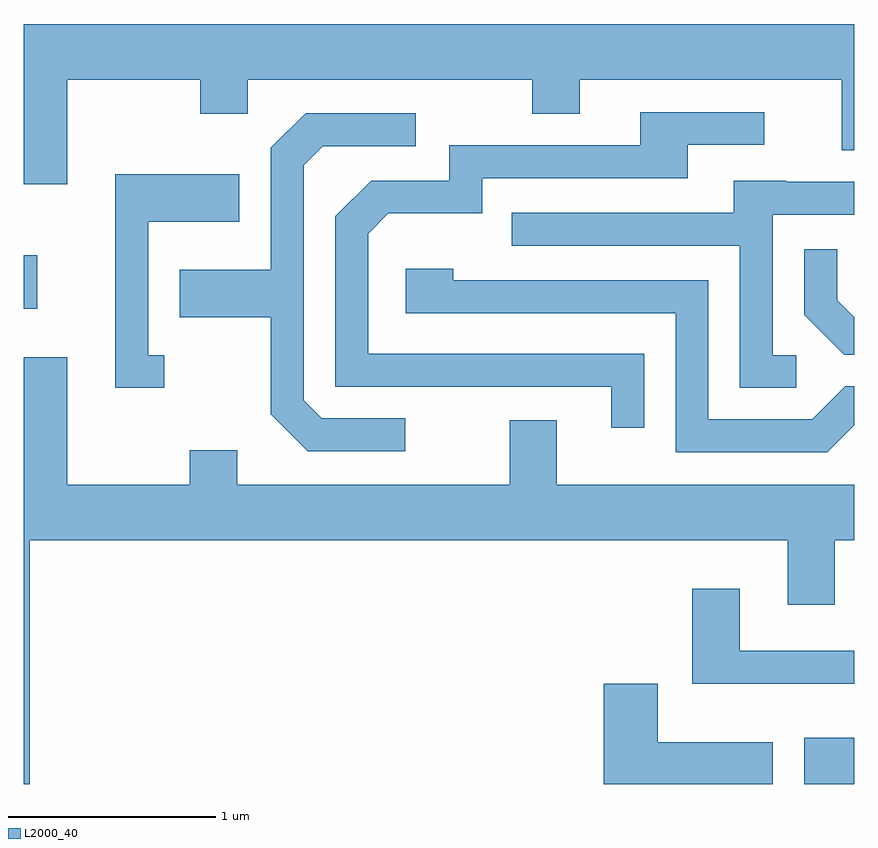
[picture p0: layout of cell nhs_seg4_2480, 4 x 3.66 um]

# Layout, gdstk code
import gdstk
lib = gdstk.Library(unit=1e-6, precision=1e-09)
def R(c, l, rs):  # rectangles x0, y0, x1, y1
    for r in rs: c.add(gdstk.rectangle(r[:2], r[2:], *l))
def P(c, l, *ps):  # polygons
    for p in ps: c.add(gdstk.Polygon(p, *l))
L2000_40 = (2000, 40)

nhs_seg4_2480 = lib.new_cell('nhs_seg4_2480')
R(nhs_seg4_2480, L2000_40, [(261.371,1317.982,261.611,1318.204), (257.611,1320.271,257.674,1320.529)])
P(nhs_seg4_2480, L2000_40, [(257.819,1321.376),(258.461,1321.376),(258.461,1321.211),(258.689,1321.211),(258.689,1321.376),(260.061,1321.376),(260.061,1321.211),(260.289,1321.211),(260.289,1321.376),(261.551,1321.376),(261.551,1321.036),(261.611,1321.036),(261.611,1321.644),(257.611,1321.644),(257.611,1320.871),(257.819,1320.871)],
  [(260.599,1320.054),(259.269,1320.054),(259.269,1320.634),(259.367,1320.731),(259.819,1320.731),(259.819,1320.901),(260.809,1320.901),(260.809,1321.061),(261.178,1321.061),(261.178,1321.219),(260.581,1321.219),(260.581,1321.059),(259.661,1321.059),(259.661,1320.889),(259.284,1320.889),(259.111,1320.717),(259.111,1319.896),(260.441,1319.896),(260.441,1319.698),(260.599,1319.698)],
  [(259.448,1319.744),(259.046,1319.744),(258.959,1319.832),(258.959,1320.964),(259.052,1321.056),(259.498,1321.056),(259.498,1321.214),(258.969,1321.214),(258.801,1321.047),(258.801,1320.459),(258.361,1320.459),(258.361,1320.231),(258.801,1320.231),(258.801,1319.764),(258.979,1319.586),(259.448,1319.586)],
  [(258.288,1320.049),(258.209,1320.049),(258.209,1320.691),(258.649,1320.691),(258.649,1320.919),(258.051,1320.919),(258.051,1319.891),(258.288,1319.891)],
  [(261.332,1320.049),(261.219,1320.049),(261.219,1320.726),(261.611,1320.726),(261.611,1320.884),(261.285,1320.884),(261.285,1320.889),(261.031,1320.889),(261.031,1320.734),(259.962,1320.734),(259.962,1320.576),(261.061,1320.576),(261.061,1319.891),(261.332,1319.891)],
  [(261.611,1320.23),(261.529,1320.312),(261.529,1320.558),(261.371,1320.558),(261.371,1320.244),(261.564,1320.051),(261.611,1320.051)],
  [(261.611,1319.71),(261.611,1319.899),(261.569,1319.899),(261.409,1319.739),(260.909,1319.739),(260.909,1320.409),(259.679,1320.409),(259.679,1320.464),(259.451,1320.464),(259.451,1320.251),(260.751,1320.251),(260.751,1319.581),(261.481,1319.581)],
  [(257.639,1319.156),(261.291,1319.156),(261.291,1318.846),(261.519,1318.846),(261.519,1319.156),(261.611,1319.156),(261.611,1319.424),(260.179,1319.424),(260.179,1319.734),(259.951,1319.734),(259.951,1319.424),(258.639,1319.424),(258.639,1319.589),(258.411,1319.589),(258.411,1319.424),(257.819,1319.424),(257.819,1320.039),(257.611,1320.039),(257.611,1317.982),(257.639,1317.982)],
  [(261.611,1318.624),(261.059,1318.624),(261.059,1318.924),(260.831,1318.924),(260.831,1318.466),(261.611,1318.466)],
  [(261.219,1318.184),(260.664,1318.184),(260.664,1318.464),(260.406,1318.464),(260.406,1317.982),(261.219,1317.982)])

lib.write_gds('nhs_seg4_2480.gds')
